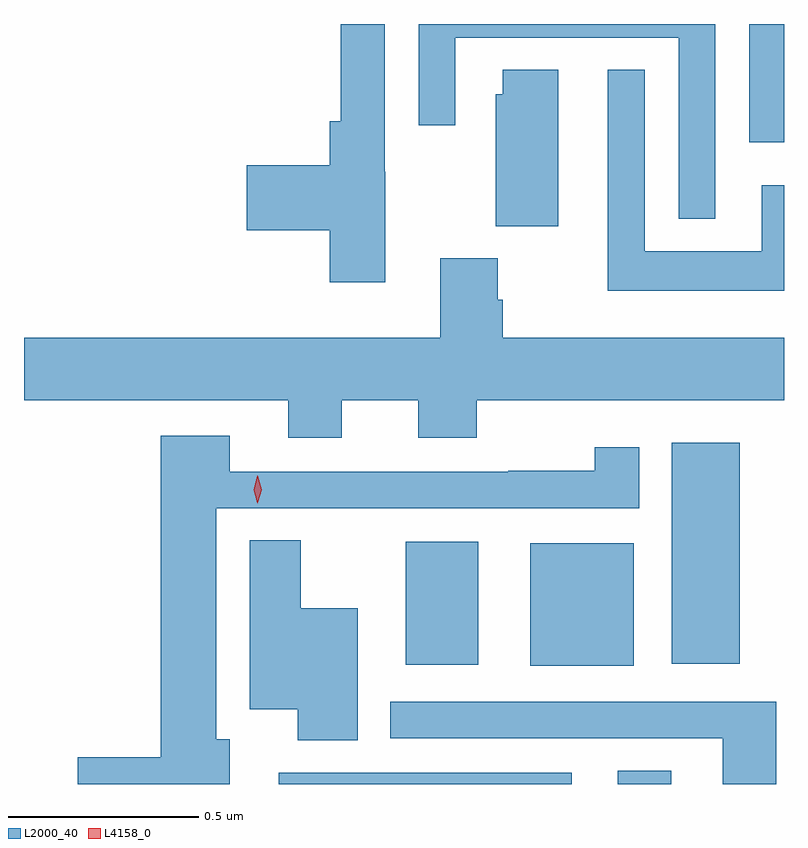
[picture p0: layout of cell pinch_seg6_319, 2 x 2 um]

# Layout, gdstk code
import gdstk
lib = gdstk.Library(unit=1e-6, precision=1e-09)
def R(c, l, rs):  # rectangles x0, y0, x1, y1
    for r in rs: c.add(gdstk.rectangle(r[:2], r[2:], *l))
def P(c, l, *ps):  # polygons
    for p in ps: c.add(gdstk.Polygon(p, *l))
L2000_40 = (2000, 40)
L4158_0 = (4158, 0)

pinch_seg6_319 = lib.new_cell('pinch_seg6_319')
R(pinch_seg6_319, L2000_40, [(648.954,966.306,649.726,966.336), (649.847,966.306,649.987,966.341), (649.616,966.617,649.888,966.94), (649.289,966.62,649.48,966.943), (649.988,966.623,650.167,967.204), (650.192,967.995,650.284,968.306)])
P(pinch_seg6_319, L2000_40, [(650.103,968.306),(649.323,968.306),(649.323,968.04),(649.419,968.04),(649.419,968.27),(650.007,968.27),(650.007,967.793),(650.103,967.793)],
  [(649.234,967.917),(649.233,967.917),(649.233,968.306),(649.117,968.306),(649.117,968.05),(649.088,968.05),(649.088,967.934),(648.87,967.934),(648.87,967.763),(649.088,967.763),(649.088,967.626),(649.234,967.626)],
  [(649.69,968.185),(649.544,968.185),(649.544,968.121),(649.526,968.121),(649.526,967.774),(649.69,967.774)],
  [(650.284,967.882),(650.226,967.882),(650.226,967.708),(649.917,967.708),(649.917,968.185),(649.82,968.185),(649.82,967.604),(650.284,967.604)],
  [(649.12,967.316),(649.322,967.316),(649.322,967.217),(649.475,967.217),(649.475,967.316),(650.284,967.316),(650.284,967.48),(649.544,967.48),(649.544,967.58),(649.531,967.58),(649.531,967.689),(649.379,967.689),(649.379,967.48),(648.284,967.48),(648.284,967.316),(648.98,967.316),(648.98,967.217),(649.12,967.217)],
  [(648.826,966.424),(648.79,966.424),(648.79,967.032),(649.903,967.032),(649.903,967.192),(649.786,967.192),(649.786,967.13),(649.558,967.13),(649.558,967.128),(648.826,967.128),(648.826,967.222),(648.644,967.222),(648.644,966.377),(648.426,966.377),(648.426,966.306),(648.826,966.306)],
  [(649.162,966.769),(649.012,966.769),(649.012,966.947),(648.878,966.947),(648.878,966.503),(649.004,966.503),(649.004,966.421),(649.162,966.421)],
  [(650.263,966.522),(649.248,966.522),(649.248,966.426),(650.123,966.426),(650.123,966.306),(650.263,966.306)])
P(pinch_seg6_319, L4158_0, [(648.899,967.045),(648.898,967.046),(648.889,967.081),(648.898,967.117),(648.899,967.117),(648.899,967.117),(648.909,967.081),(648.899,967.046)])

lib.write_gds('pinch_seg6_319.gds')
